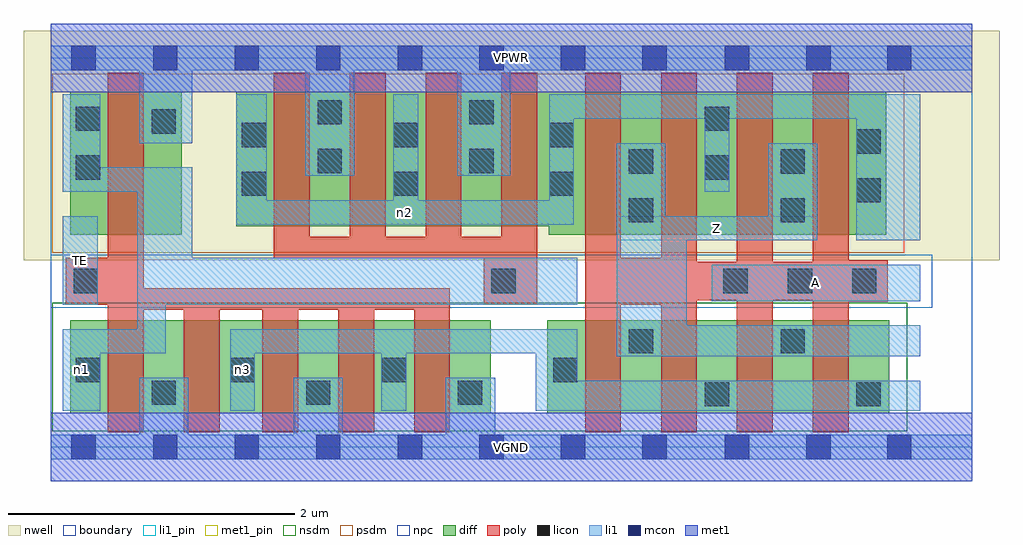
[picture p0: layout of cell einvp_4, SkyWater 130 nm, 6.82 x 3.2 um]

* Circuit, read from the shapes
.subckt einvp_4 A TE VGND VPWR Z n1 n2 n3
XM1 VGND TE n1 VSUBS sky130_fd_pr__nfet_01v8 w=0.65 l=0.25
XM2 n3 TE VGND VSUBS sky130_fd_pr__nfet_01v8 w=0.65 l=0.25 m=4
XM3 Z A n3 VSUBS sky130_fd_pr__nfet_01v8 w=0.65 l=0.25 m=4
XM4 VPWR TE n1 n4 sky130_fd_pr__pfet_01v8 w=1 l=0.25
XM5 VPWR n1 n2 n4 sky130_fd_pr__pfet_01v8 w=0.94 l=0.25 m=4
XM6 Z A n2 n4 sky130_fd_pr__pfet_01v8 w=1 l=0.25 m=4
.ends

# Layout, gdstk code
import gdstk
lib = gdstk.Library(unit=1e-6, precision=1e-09)
def R(c, l, rs):  # rectangles x0, y0, x1, y1
    for r in rs: c.add(gdstk.rectangle(r[:2], r[2:], *l))
def A(c, l, x, y, w, h, nx, ny, dx, dy):  # array of equal rectangles
    R(c, l, [(x+i*dx, y+j*dy, x+i*dx+w, y+j*dy+h) for i in range(nx) for j in range(ny)])
nwell = (64, 20)
diff = (65, 20)
poly = (66, 20)
licon = (66, 44)
li1_pin = (67, 16)
li1 = (67, 20)
mcon = (67, 44)
met1_pin = (68, 16)
met1 = (68, 20)
nsdm = (93, 44)
psdm = (94, 20)
npc = (95, 20)
boundary = (235, 4)

einvp_4 = lib.new_cell('einvp_4')
R(einvp_4, nwell, [(-0.19,1.305,6.63,2.91), (0,1.305,6.44,2.91)])
R(einvp_4, diff, [(0.135,0.235,3.075,0.885), (3.47,0.235,5.86,0.885), (0.135,1.485,0.915,2.485), (3.48,1.485,5.84,2.485), (1.295,1.545,5.84,2.485)])
A(einvp_4, poly, 1.48, 0.105, 0.25, 1.005, 3, 1, 0.53, 0)
A(einvp_4, poly, 3.735, 0.105, 0.25, 2.51, 4, 1, 0.53, 0)
A(einvp_4, poly, 1.56, 1.32, 0.25, 1.295, 3, 1, 0.53, 0)
R(einvp_4, poly, [(0.4,0.105,0.65,2.615), (0.93,0.105,1.18,1.11), (0.4,0.96,2.79,1.11), (0.105,0.995,0.65,1.325), (3.025,0.995,3.4,1.47), (3.15,0.995,3.4,2.615), (3.735,0.995,4.515,1.325), (5.325,1.015,5.85,1.305), (3.735,1.025,5.85,1.295), (1.56,1.32,3.4,1.47)])
A(einvp_4, licon, 4.7, 1.075, 0.17, 0.17, 3, 1, 0.45, 0)
R(einvp_4, licon, [(4.57,0.285,4.74,0.455), (5.63,0.285,5.8,0.455), (0.705,0.295,0.875,0.465), (1.785,0.295,1.955,0.465), (2.845,0.295,3.015,0.465), (0.175,0.455,0.345,0.625), (1.255,0.455,1.425,0.625), (2.315,0.455,2.485,0.625), (3.51,0.455,3.68,0.625), (4.04,0.655,4.21,0.825), (5.1,0.655,5.27,0.825), (0.16,1.075,0.33,1.245), (3.08,1.075,3.25,1.245), (4.04,1.57,4.21,1.74), (5.1,1.57,5.27,1.74), (5.63,1.71,5.8,1.88), (1.335,1.755,1.505,1.925), (2.395,1.755,2.565,1.925), (3.485,1.755,3.655,1.925), (0.175,1.87,0.345,2.04), (4.57,1.87,4.74,2.04), (4.04,1.91,4.21,2.08), (5.1,1.91,5.27,2.08), (1.865,1.915,2.035,2.085), (2.925,1.915,3.095,2.085), (5.63,2.05,5.8,2.22), (1.335,2.095,1.505,2.265), (2.395,2.095,2.565,2.265), (3.485,2.095,3.655,2.265), (0.705,2.19,0.875,2.36), (0.175,2.21,0.345,2.38), (4.57,2.21,4.74,2.38), (1.865,2.255,2.035,2.425), (2.925,2.255,3.095,2.425)])
R(einvp_4, li1_pin, [(0.085,0.995,0.33,1.615), (4.62,1.02,6.075,1.275), (3.955,1.445,5.355,1.615)])
R(einvp_4, li1, [(0,-0.085,6.44,0.085), (0.62,-0.085,0.96,0.485), (1.7,-0.085,2.04,0.485), (2.76,-0.085,3.105,0.485), (0.085,0.255,0.345,0.825), (1.255,0.255,1.425,0.825), (2.31,0.255,2.485,0.825), (3.39,0.255,6.075,0.465), (3.39,0.255,3.68,0.825), (3.955,0.635,4.295,2.125), (3.955,0.635,6.075,0.85), (3.955,0.635,4.445,1.615), (0.085,0.655,0.805,0.825), (0.605,0.655,0.805,1.955), (1.255,0.655,3.68,0.825), (0.085,0.995,0.33,1.615), (0.605,0.995,3.68,1.325), (0.605,0.995,0.99,1.955), (4.62,1.02,6.075,1.275), (3.955,1.445,5.355,1.615), (5.015,1.445,5.355,2.125), (5.63,1.445,6.075,2.465), (1.295,1.555,3.655,1.725), (1.295,1.555,1.51,2.465), (2.395,1.555,2.57,2.465), (3.485,1.555,3.655,2.465), (0.085,1.785,0.345,2.465), (0.085,1.785,0.99,1.955), (4.57,1.785,4.74,2.465), (1.78,1.895,2.12,2.805), (2.84,1.895,3.21,2.805), (0.62,2.125,0.99,2.805), (3.485,2.295,6.075,2.465), (0,2.635,6.44,2.805)])
A(einvp_4, mcon, 0.145, -0.085, 0.17, 0.17, 8, 2, 0.57, 2.72)
R(einvp_4, mcon, [(4.71,-0.085,4.88,0.085), (5.28,-0.085,5.45,0.085), (5.845,-0.085,6.015,0.085), (4.71,2.635,4.88,2.805), (5.28,2.635,5.45,2.805), (5.845,2.635,6.015,2.805)])
R(einvp_4, met1_pin, [(0,-0.24,6.44,0.24), (0,2.48,6.44,2.96)])
R(einvp_4, met1, [(0,-0.24,6.44,0.24), (0,2.48,6.44,2.96)])
R(einvp_4, nsdm, [(0.01,0.11,5.985,1.01)])
R(einvp_4, psdm, [(0.01,1.36,5.965,2.61)])
R(einvp_4, npc, [(0,0.975,6.16,1.345)])
R(einvp_4, boundary, [(0,0,6.44,2.72)])
einvp_4.add(gdstk.Label('A', (5.347,1.147), layer=67, texttype=5))
einvp_4.add(gdstk.Label('TE', (0.207,1.305), layer=67, texttype=5))
einvp_4.add(gdstk.Label('Z', (4.655,1.53), layer=67, texttype=5))
einvp_4.add(gdstk.Label('n3', (1.34,0.54), layer=67, texttype=5))
einvp_4.add(gdstk.Label('n1', (0.215,0.54), layer=67, texttype=5))
einvp_4.add(gdstk.Label('n2', (2.475,1.64), layer=67, texttype=5))
einvp_4.add(gdstk.Label('VPWR', (3.22,2.72), layer=68, texttype=5))
einvp_4.add(gdstk.Label('VGND', (3.22,0), layer=68, texttype=5))
einvp_4.add(gdstk.Label('A', (5.347,1.147), layer=67, texttype=16))
einvp_4.add(gdstk.Label('TE', (0.207,1.305), layer=67, texttype=16))
einvp_4.add(gdstk.Label('Z', (4.655,1.53), layer=67, texttype=16))
einvp_4.add(gdstk.Label('VPWR', (3.22,2.72), layer=68, texttype=16))
einvp_4.add(gdstk.Label('VGND', (3.22,0), layer=68, texttype=16))

lib.write_gds('einvp_4.gds')
